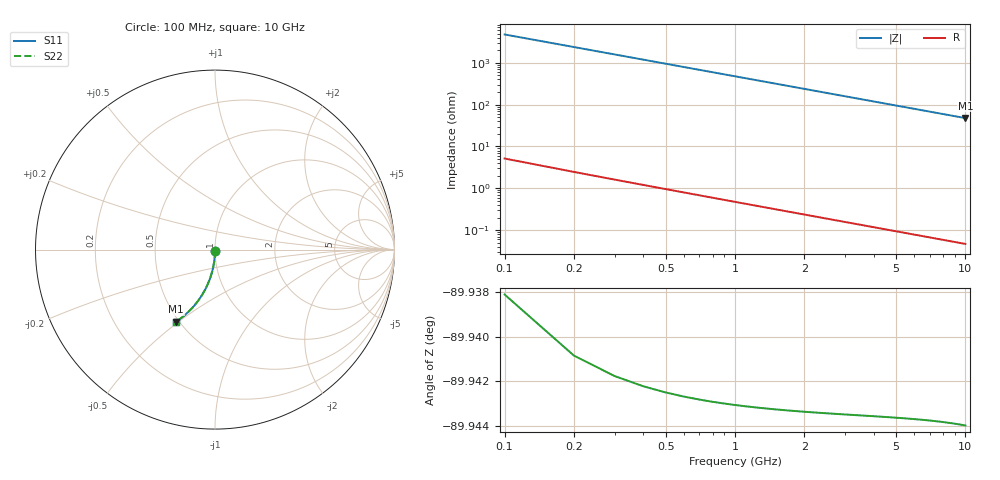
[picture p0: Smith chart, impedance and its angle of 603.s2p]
# Hz S RI R 50.00
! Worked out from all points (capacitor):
!   100 points, 100 MHz to 10 GHz, reference 50 ohm
!   read as one part in shunt: C = 334 fF near 100 MHz
!   lowest |Z| = 47.7 ohm at 10 GHz (marker M1)
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1e8  -1.22e-05 -0.00514  0.9999 -0.00535  0.9999 -0.00535  -1.22e-05 -0.00514
2e8  -9.97e-05 -0.0103  0.9999 -0.0107  0.9999 -0.0107  -9.97e-05 -0.0103
3e8  -0.000242 -0.0154  0.9997 -0.016  0.9997 -0.016  -0.000242 -0.0154
4e8  -0.00044 -0.0206  0.9995 -0.0214  0.9995 -0.0214  -0.00044 -0.0206
5e8  -0.000692 -0.0257  0.9993 -0.0267  0.9993 -0.0267  -0.000692 -0.0257
6e8  -0.000999 -0.0308  0.999 -0.0321  0.999 -0.0321  -0.000999 -0.0308
7e8  -0.00136 -0.036  0.9986 -0.0374  0.9986 -0.0374  -0.00136 -0.036
8e8  -0.00178 -0.0411  0.9982 -0.0427  0.9982 -0.0427  -0.00178 -0.0411
9e8  -0.00225 -0.0462  0.9977 -0.048  0.9977 -0.048  -0.00225 -0.0462
1.1e9  -0.00335 -0.0564  0.9966 -0.0586  0.9966 -0.0586  -0.00335 -0.0564
1.4e9  -0.00542 -0.0716  0.9945 -0.0745  0.9945 -0.0745  -0.00542 -0.0716
1.8e9  -0.00891 -0.0918  0.991 -0.0954  0.991 -0.0954  -0.00891 -0.0918
2.1e9  -0.0121 -0.1067  0.9879 -0.111  0.9879 -0.111  -0.0121 -0.1067
2.5e9  -0.017 -0.1264  0.9829 -0.1315  0.9829 -0.1315  -0.017 -0.1264
2.9e9  -0.0228 -0.1458  0.9772 -0.1517  0.9772 -0.1517  -0.0228 -0.1458
3.4e9  -0.031 -0.1695  0.9689 -0.1765  0.9689 -0.1765  -0.031 -0.1695
4.2e9  -0.0466 -0.206  0.9533 -0.2146  0.9533 -0.2146  -0.0466 -0.206
5.1e9  -0.0672 -0.2447  0.9327 -0.2552  0.9327 -0.2552  -0.0672 -0.2447
5.9e9  -0.0879 -0.2767  0.9119 -0.2889  0.9119 -0.2889  -0.0879 -0.2767
6.7e9  -0.1106 -0.3063  0.8892 -0.3202  0.8892 -0.3202  -0.1106 -0.3063
8.4e9  -0.1636 -0.3607  0.8362 -0.3783  0.8362 -0.3783  -0.1636 -0.3607
1e10  -0.2171 -0.4014  0.7826 -0.4224  0.7826 -0.4224  -0.2171 -0.4014
